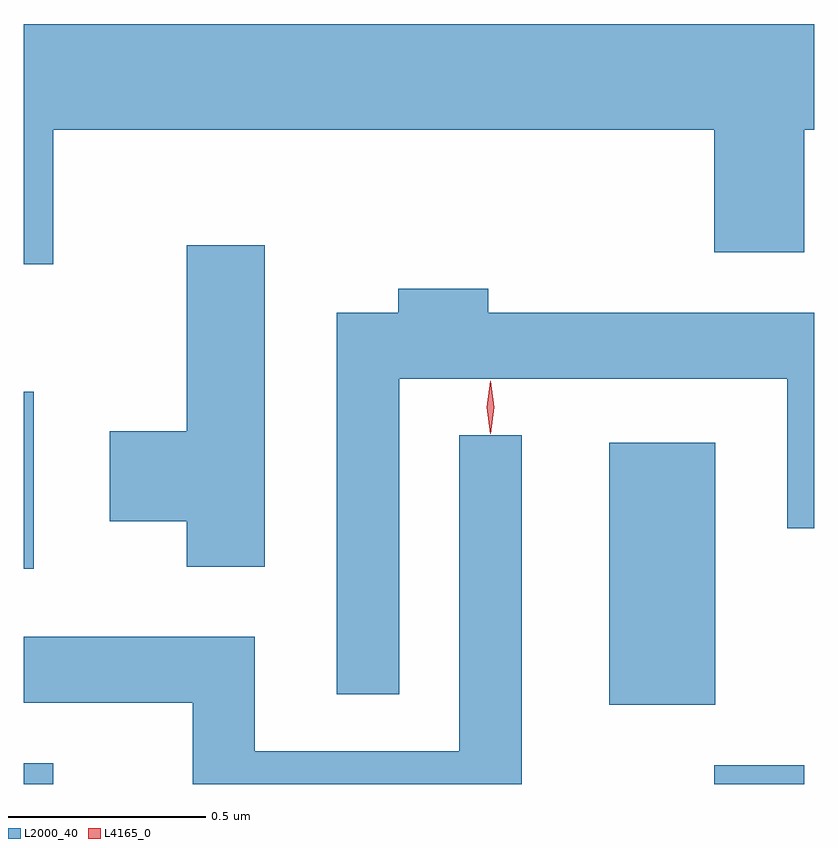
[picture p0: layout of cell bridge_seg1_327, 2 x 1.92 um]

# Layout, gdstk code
import gdstk
lib = gdstk.Library(unit=1e-6, precision=1e-09)
def R(c, l, rs):  # rectangles x0, y0, x1, y1
    for r in rs: c.add(gdstk.rectangle(r[:2], r[2:], *l))
def P(c, l, *ps):  # polygons
    for p in ps: c.add(gdstk.Polygon(p, *l))
L2000_40 = (2000, 40)
L4165_0 = (4165, 0)

bridge_seg1_327 = lib.new_cell('bridge_seg1_327')
R(bridge_seg1_327, L2000_40, [(856.094,880.161,856.169,880.214), (857.841,880.161,858.069,880.209), (857.576,880.361,857.844,881.024), (856.094,880.706,856.119,881.154)])
P(bridge_seg1_327, L2000_40, [(856.169,881.816),(857.841,881.816),(857.841,881.506),(858.069,881.506),(858.069,881.816),(858.094,881.816),(858.094,882.084),(856.094,882.084),(856.094,881.476),(856.169,881.476)],
  [(856.704,881.524),(856.506,881.524),(856.506,881.054),(856.311,881.054),(856.311,880.826),(856.506,880.826),(856.506,880.711),(856.704,880.711)],
  [(857.044,881.186),(858.026,881.186),(858.026,880.808),(858.094,880.808),(858.094,881.354),(857.269,881.354),(857.269,881.414),(857.041,881.414),(857.041,881.354),(856.886,881.354),(856.886,880.388),(857.044,880.388)],
  [(857.354,881.043),(857.196,881.043),(857.196,880.244),(856.679,880.244),(856.679,880.534),(856.094,880.534),(856.094,880.366),(856.521,880.366),(856.521,880.161),(857.354,880.161)])
P(bridge_seg1_327, L4165_0, [(857.274,881.047),(857.265,881.114),(857.274,881.18),(857.275,881.181),(857.275,881.18),(857.285,881.114),(857.275,881.047),(857.275,881.047)])

lib.write_gds('bridge_seg1_327.gds')
